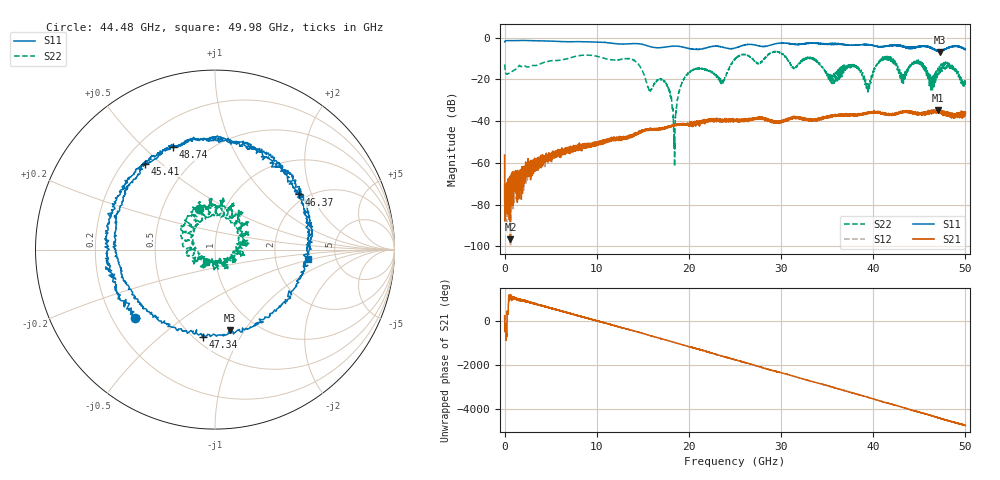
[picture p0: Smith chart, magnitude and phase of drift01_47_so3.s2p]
!Created with skrf (http://scikit-rf.org).
# Hz S RI R 50.0
!freq ReS11 ImS11 ReS21 ImS21 ReS12 ImS12 ReS22 ImS22
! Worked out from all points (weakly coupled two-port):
!   10001 points, 300 kHz to 50 GHz, reference 50 ohm
!   highest |S21| = -34.61 dB at 47.04 GHz (marker M1); lowest = -96.6 dB at 630.3 MHz (marker M2)
!   lowest |S11| = -6.8 dB at 47.2 GHz (marker M3), VSWR 2.68, Z = 38 - j43 ohm
!   |S11| at or under -10 dB: nowhere
!   |S22| runs from -61.7 to -6.6 dB; largest |S21 - S12| = 0.0047
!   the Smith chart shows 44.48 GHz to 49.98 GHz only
!   S11 on the Smith chart (normalised r, x): 44.48 GHz: 0.29, -0.34; 45.41 GHz: 0.29, +0.44; 46.37 GHz: 1.81, +1.62; 47.34 GHz: 0.55, -0.71; 48.74 GHz: 0.33, +0.62; 49.98 GHz: 3.10, -0.44
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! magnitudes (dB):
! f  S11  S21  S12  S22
! 300 kHz  -2.0  -56.2  -71.0  -12.8
! 630.3 MHz  -1.5  -96.6  -67.1  -16.7
! 8.335 GHz  -2.0  -53.4  -52.4  -8.5
! 16.67 GHz  -4.9  -44.1  -44.2  -20.0
! 17.74 GHz  -4.4  -43.0  -43.2  -23.8
! 18.43 GHz  -4.1  -41.8  -41.6  -51.8
! 19.89 GHz  -5.1  -41.7  -41.4  -17.1
! 23.59 GHz  -4.5  -39.6  -39.3  -20.0
! 25 GHz  -5.0  -40.1  -39.8  -10.4
! 33.34 GHz  -2.6  -39.9  -39.2  -9.9
! 39.36 GHz  -3.3  -36.1  -36.0  -22.6
! 41.67 GHz  -3.9  -37.1  -37.0  -9.7
! 43.19 GHz  -4.3  -35.8  -35.8  -19.2
! 44.48 GHz  -4.7  -35.7  -36.1  -12.3
! 45.41 GHz  -4.2  -36.6  -36.7  -13.1
! 46.37 GHz  -5.1  -35.0  -35.4  -19.2
! 47.04 GHz  -6.5  -34.6  -36.1  -15.3
! 47.2 GHz  -6.8  -35.2  -35.3  -13.7
! 47.34 GHz  -6.2  -35.8  -35.8  -13.0
! 48.74 GHz  -4.2  -37.6  -37.6  -14.8
! 49.98 GHz  -5.7  -35.6  -35.6  -21.6
! 50 GHz  -5.6  -35.8  -37.2  -21.9
